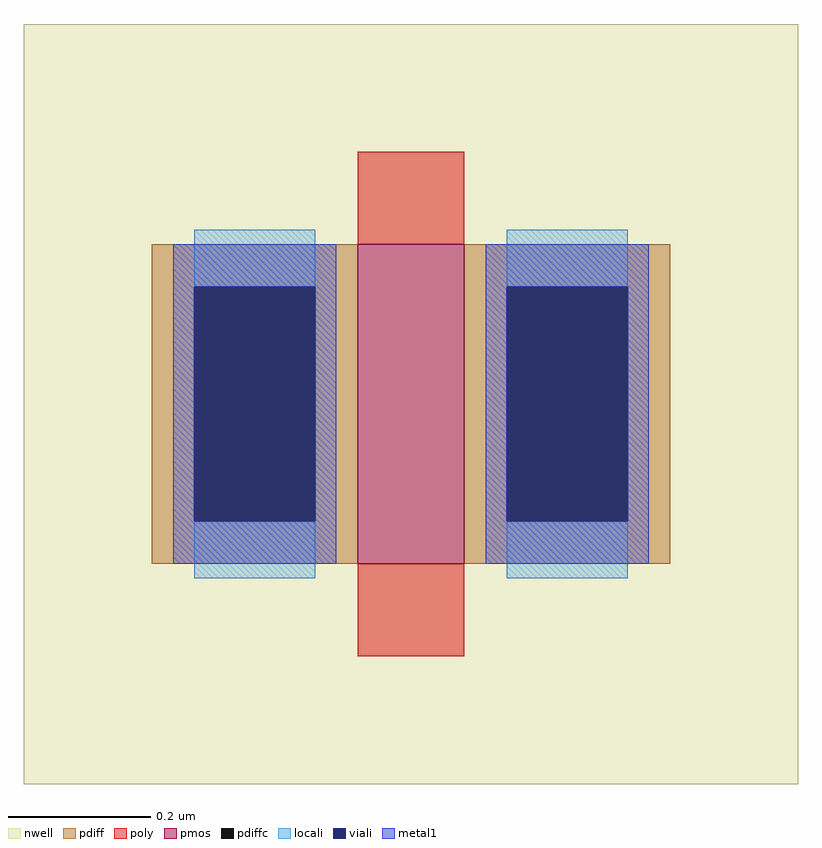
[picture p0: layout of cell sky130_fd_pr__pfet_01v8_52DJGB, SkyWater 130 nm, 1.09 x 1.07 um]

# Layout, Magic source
magic
tech sky130A
magscale 1 2
<< nwell >>
rect -109 -107 109 107
<< pmos >>
rect -15 -45 15 45
<< pdiff >>
rect -73 33 -15 45
rect -73 -33 -61 33
rect -27 -33 -15 33
rect -73 -45 -15 -33
rect 15 33 73 45
rect 15 -33 27 33
rect 61 -33 73 33
rect 15 -45 73 -33
<< pdiffc >>
rect -61 -33 -27 33
rect 27 -33 61 33
<< poly >>
rect -15 45 15 71
rect -15 -71 15 -45
<< locali >>
rect -61 33 -27 49
rect -61 -49 -27 -33
rect 27 33 61 49
rect 27 -49 61 -33
<< viali >>
rect -61 -33 -27 33
rect 27 -33 61 33
<< metal1 >>
rect -67 33 -21 45
rect -67 -33 -61 33
rect -27 -33 -21 33
rect -67 -45 -21 -33
rect 21 33 67 45
rect 21 -33 27 33
rect 61 -33 67 33
rect 21 -45 67 -33
<< properties >>
string gencell sky130_fd_pr__pfet_01v8
string library sky130
string parameters w 0.45 l 0.15 m 1 nf 1 diffcov 100 polycov 100 guard 0 glc 0 grc 0 gtc 0 gbc 0 tbcov 100 rlcov 100 topc 0 botc 0 poverlap 0 doverlap 0 lmin 0.15 wmin 0.42 compatible {sky130_fd_pr__pfet_01v8  sky130_fd_pr__pfet_01v8_lvt sky130_fd_pr__pfet_01v8_hvt  sky130_fd_pr__pfet_g5v0d10v5} full_metal 0 viasrc 100 viadrn 100 viagate 100 viagb 0 viagr 0 viagl 0 viagt 0
<< end >>
